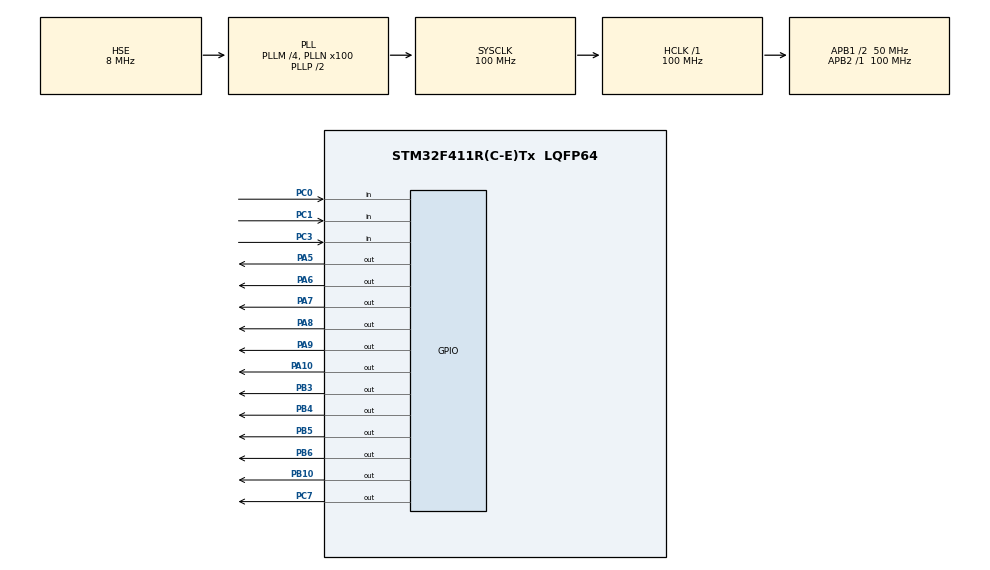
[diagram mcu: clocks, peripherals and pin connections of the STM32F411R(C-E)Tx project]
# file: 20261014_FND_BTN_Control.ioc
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Mcu.Family=STM32F4
Mcu.Name=STM32F411R(C-E)Tx
Mcu.Package=LQFP64
NVIC.PriorityGroup=NVIC_PRIORITYGROUP_4
PA10.Signal=GPIO_Output
PA5.Signal=GPIO_Output
PA6.Signal=GPIO_Output
PA7.Signal=GPIO_Output
PA8.Signal=GPIO_Output
PA9.Signal=GPIO_Output
PB10.Signal=GPIO_Output
PB3.Signal=GPIO_Output
PB4.Signal=GPIO_Output
PB5.Signal=GPIO_Output
PB6.Signal=GPIO_Output
PC0.Signal=GPIO_Input
PC1.Signal=GPIO_Input
PC3.Signal=GPIO_Input
PC7.Signal=GPIO_Output
PH0\ -\ OSC_IN.Mode=HSE-External-Oscillator
PH0\ -\ OSC_IN.Signal=RCC_OSC_IN
PH1\ -\ OSC_OUT.Mode=HSE-External-Oscillator
PH1\ -\ OSC_OUT.Signal=RCC_OSC_OUT
ProjectManager.HeapSize=0x200
ProjectManager.StackSize=0x400
ProjectManager.TargetToolchain=STM32CubeIDE
RCC.48MHZClocksFreq_Value=50000000
RCC.AHBFreq_Value=100000000
RCC.APB1CLKDivider=RCC_HCLK_DIV2
RCC.APB1Freq_Value=50000000
RCC.APB1TimFreq_Value=100000000
RCC.APB2Freq_Value=100000000
RCC.APB2TimFreq_Value=100000000
RCC.CortexFreq_Value=100000000
RCC.HCLKFreq_Value=100000000
RCC.HSE_VALUE=8000000
RCC.HSI_VALUE=16000000
RCC.LSE_VALUE=32768
RCC.PLLM=4
RCC.PLLN=100
RCC.PLLSourceVirtual=RCC_PLLSOURCE_HSE
RCC.SYSCLKFreq_VALUE=100000000
RCC.SYSCLKSource=RCC_SYSCLKSOURCE_PLLCLK
RCC.VCOOutputFreq_Value=200000000
board=custom

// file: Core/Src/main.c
/* USER CODE BEGIN Header */
/**
 ******************************************************************************
 * @file           : main.c
 * @brief          : Main program body
 ******************************************************************************
 * @attention
 *
 * Copyright (c) 2026 STMicroelectronics.
 * All rights reserved.
 *
 * This software is licensed under terms that can be found in the LICENSE file
 * in the root directory of this software component.
 * If no LICENSE file comes with this software, it is provided AS-IS.
 *
 ******************************************************************************
 */
/* USER CODE END Header */
#include "main.h"

/* USER CODE BEGIN Includes */
#include "driver/fnd/fnd.h"
/* USER CODE END Includes */

/* USER CODE BEGIN PTD */
enum {RUN, STOP, CLEAR};
/* USER CODE END PTD */

/* USER CODE BEGIN PD */
#define BTN1_GPIO GPIOC
#define BTN1_PIN  GPIO_PIN_0
#define BTN2_GPIO GPIOC
#define BTN2_PIN  GPIO_PIN_1
#define BTN3_GPIO GPIOC
#define BTN3_PIN  GPIO_PIN_3
/* USER CODE END PD */

void SystemClock_Config(void);
static void MX_GPIO_Init(void);

/* USER CODE BEGIN 0 */
int btn_run_stop(GPIO_TypeDef* GPIOx, uint16_t GPIO_Pin)
{
	return HAL_GPIO_ReadPin(BTN1_GPIO, BTN1_PIN);
}

int btn_clear(GPIO_TypeDef* GPIOx, uint16_t GPIO_Pin)
{
	return HAL_GPIO_ReadPin(BTN2_GPIO, BTN2_PIN);
}

/* USER CODE END 0 */

int main(void)
{

	/* MCU Configuration--------------------------------------------------------*/

	/* Reset of all peripherals, Initializes the Flash interface and the Systick. */
	HAL_Init();

	/* Configure the system clock */
	SystemClock_Config();

	/* Initialize all configured peripherals */
	MX_GPIO_Init();

	/* Infinite loop */
	/* USER CODE BEGIN WHILE */
	uint16_t counter = 0;
	uint32_t prevTime = 0;
	int state = STOP;

	while (1)
	{
		fnd_show_number(counter);

		switch (state)
		{

		case RUN:
			if (btn_run_stop(BTN1_GPIO, BTN1_PIN) == 0) {
				state = STOP;
				break;
			}

			if (HAL_GetTick() - prevTime > 100) {
				prevTime = HAL_GetTick();

				if (counter == 9999) {
					counter = 0;
				}
				else {
					counter++;
				}
			}
			break;

		case STOP:
			if (btn_run_stop(BTN1_GPIO, BTN1_PIN) == 0) {
				state = RUN;
			}

			if (btn_clear(BTN2_GPIO, BTN2_PIN) == 0) {
				state = CLEAR;
			}
			break;

		case CLEAR:
			counter = 0;
			state = STOP;
			break;

		default:

			break;
		}

		/* USER CODE END WHILE */

	}
}

void SystemClock_Config(void)
{
	RCC_OscInitTypeDef RCC_OscInitStruct = {0};
	RCC_ClkInitTypeDef RCC_ClkInitStruct = {0};

	/** Configure the main internal regulator output voltage
	 */
	__HAL_RCC_PWR_CLK_ENABLE();
	__HAL_PWR_VOLTAGESCALING_CONFIG(PWR_REGULATOR_VOLTAGE_SCALE1);

	/** Initializes the RCC Oscillators according to the specified parameters
	 * in the RCC_OscInitTypeDef structure.
	 */
	RCC_OscInitStruct.OscillatorType = RCC_OSCILLATORTYPE_HSE;
	RCC_OscInitStruct.HSEState = RCC_HSE_ON;
	RCC_OscInitStruct.PLL.PLLState = RCC_PLL_ON;
	RCC_OscInitStruct.PLL.PLLSource = RCC_PLLSOURCE_HSE;
	RCC_OscInitStruct.PLL.PLLM = 4;
	RCC_OscInitStruct.PLL.PLLN = 100;
	RCC_OscInitStruct.PLL.PLLP = RCC_PLLP_DIV2;
	RCC_OscInitStruct.PLL.PLLQ = 4;
	if (HAL_RCC_OscConfig(&RCC_OscInitStruct) != HAL_OK)
	{
		Error_Handler();
	}

	/** Initializes the CPU, AHB and APB buses clocks
	 */
	RCC_ClkInitStruct.ClockType = RCC_CLOCKTYPE_HCLK|RCC_CLOCKTYPE_SYSCLK
			|RCC_CLOCKTYPE_PCLK1|RCC_CLOCKTYPE_PCLK2;
	RCC_ClkInitStruct.SYSCLKSource = RCC_SYSCLKSOURCE_PLLCLK;
	RCC_ClkInitStruct.AHBCLKDivider = RCC_SYSCLK_DIV1;
	RCC_ClkInitStruct.APB1CLKDivider = RCC_HCLK_DIV2;
	RCC_ClkInitStruct.APB2CLKDivider = RCC_HCLK_DIV1;

	if (HAL_RCC_ClockConfig(&RCC_ClkInitStruct, FLASH_LATENCY_3) != HAL_OK)
	{
		Error_Handler();
	}
}

static void MX_GPIO_Init(void)
{
	GPIO_InitTypeDef GPIO_InitStruct = {0};

	/* GPIO Ports Clock Enable */
	__HAL_RCC_GPIOH_CLK_ENABLE();
	__HAL_RCC_GPIOA_CLK_ENABLE();
	__HAL_RCC_GPIOB_CLK_ENABLE();
	__HAL_RCC_GPIOC_CLK_ENABLE();

	/*Configure GPIO pin Output Level */
	HAL_GPIO_WritePin(GPIOA, GPIO_PIN_5|GPIO_PIN_6|GPIO_PIN_7|GPIO_PIN_8
			|GPIO_PIN_9|GPIO_PIN_10, GPIO_PIN_RESET);

	/*Configure GPIO pin Output Level */
	HAL_GPIO_WritePin(GPIOB, GPIO_PIN_10|GPIO_PIN_3|GPIO_PIN_4|GPIO_PIN_5
			|GPIO_PIN_6, GPIO_PIN_RESET);

	/*Configure GPIO pin Output Level */
	HAL_GPIO_WritePin(GPIOC, GPIO_PIN_7, GPIO_PIN_RESET);

	/*Configure GPIO pins : PA5 PA6 PA7 PA8
                           PA9 PA10 */
	GPIO_InitStruct.Pin = GPIO_PIN_5|GPIO_PIN_6|GPIO_PIN_7|GPIO_PIN_8
			|GPIO_PIN_9|GPIO_PIN_10;
	GPIO_InitStruct.Mode = GPIO_MODE_OUTPUT_PP;
	GPIO_InitStruct.Pull = GPIO_NOPULL;
	GPIO_InitStruct.Speed = GPIO_SPEED_FREQ_LOW;
	HAL_GPIO_Init(GPIOA, &GPIO_InitStruct);

	/*Configure GPIO pins : PB10 PB3 PB4 PB5
                           PB6 */
	GPIO_InitStruct.Pin = GPIO_PIN_10|GPIO_PIN_3|GPIO_PIN_4|GPIO_PIN_5
			|GPIO_PIN_6;
	GPIO_InitStruct.Mode = GPIO_MODE_OUTPUT_PP;
	GPIO_InitStruct.Pull = GPIO_NOPULL;
	GPIO_InitStruct.Speed = GPIO_SPEED_FREQ_LOW;
	HAL_GPIO_Init(GPIOB, &GPIO_InitStruct);

	/*Configure GPIO pin : PC7 */
	GPIO_InitStruct.Pin = GPIO_PIN_7;
	GPIO_InitStruct.Mode = GPIO_MODE_OUTPUT_PP;
	GPIO_InitStruct.Pull = GPIO_NOPULL;
	GPIO_InitStruct.Speed = GPIO_SPEED_FREQ_LOW;
	HAL_GPIO_Init(GPIOC, &GPIO_InitStruct);

}

void Error_Handler(void)
{
	__disable_irq();
	while (1)
	{
	}
}
